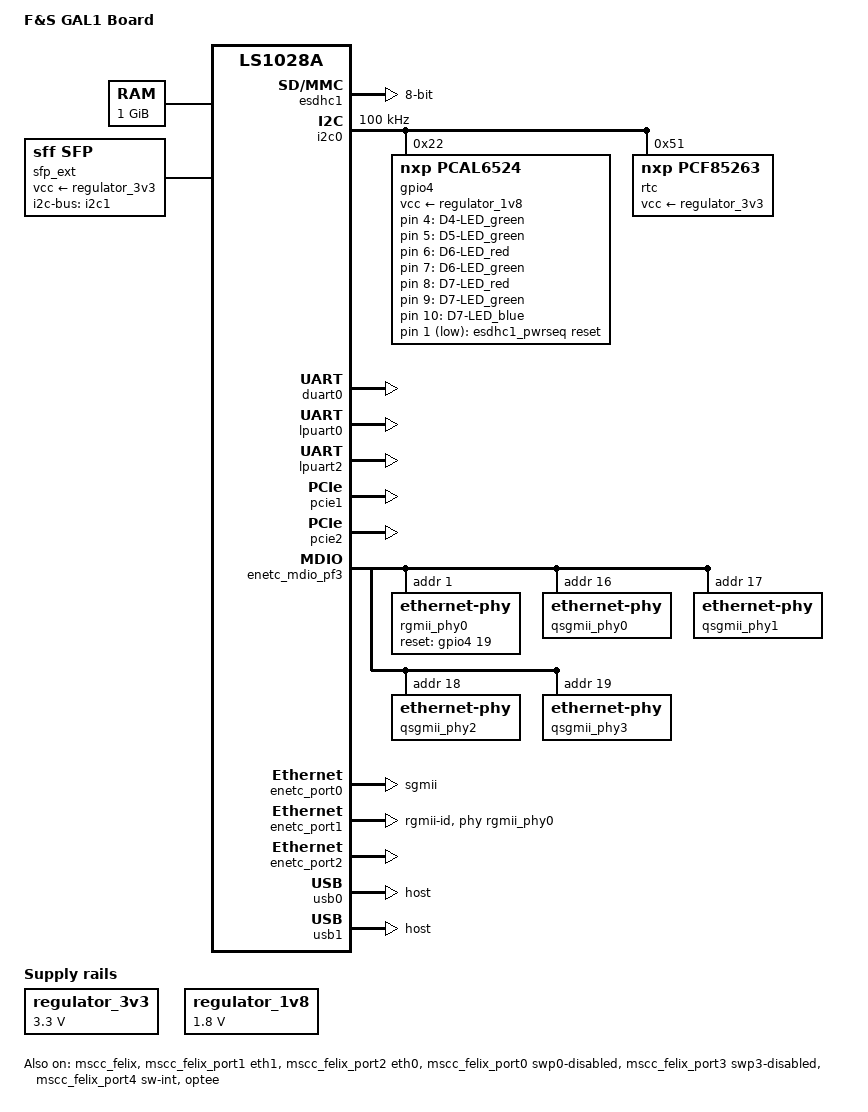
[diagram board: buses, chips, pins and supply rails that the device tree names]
// SPDX-License-Identifier: (GPL-2.0+ OR MIT)
/*
 * F&S Elektronik Systeme GmbH device tree source
 *
 * Copyright 2022 F&S Elektronik Systeme GmbH
 *
 */

/dts-v1/;
#include "../freescale/fsl-ls1028a.dtsi"
#include <dt-bindings/gpio/gpio.h>
#include <dt-bindings/leds/common.h>
#include <dt-bindings/net/mscc-phy-vsc8531.h>

/delete-node/ &dpclk;
/delete-node/ &hdptx0;
/delete-node/ &malidp0;

&soc {
	/delete-node/ gpu@f0c0000;
};

/ {
     model = "F&S GAL1 Board";
     compatible = "fus,gal1", "fsl,ls1028a";

     aliases {
        crypto = &crypto;
        serial0 = &duart0;
        serial1 = &lpuart0;
        serial2 = &lpuart2;

		/* Needed for UBOOT to set MAC-ADDRESS */
		ethernet0 = &enetc_port0;
		ethernet1 = &enetc_port1;
		ethernet2 = &enetc_port2;
		ethernet3 = &mscc_felix_port0;
		ethernet4 = &mscc_felix_port1;
		ethernet5 = &mscc_felix_port2;
		ethernet6 = &mscc_felix_port3;
		ethernet7 = &enetc_port3;
    };

     chosen {
		stdout-path = "serial0:115200n8";
     };

     memory@80000000 {
		device_type = "memory";
		reg = <0x0 0x80000000 0x0 0x40000000>; //1GiB in DRAM region 1
     };

	leds {
		compatible = "gpio-leds";

		D4-GN {
			label = "D4-LED_green";
			gpios = <&gpio4 4 GPIO_ACTIVE_HIGH>;
			default-state = "off";	
		};

		D5-GN {
			label = "D5-LED_green";
			gpios = <&gpio4 5 GPIO_ACTIVE_HIGH>;
			default-state = "off";
		};

		D6-RD {
			label = "D6-LED_red";
			gpios = <&gpio4 6 GPIO_ACTIVE_HIGH>;
			default-state = "off";
		};

		D6-GN {
			label = "D6-LED_green";
			gpios = <&gpio4 7 GPIO_ACTIVE_HIGH>;
			default-state = "off";
		};

		D7-RD {
			label = "D7-LED_red";
			gpios = <&gpio4 8 GPIO_ACTIVE_HIGH>;
			default-state = "off";
		};

		D7-GN {
			label = "D7-LED_green";
			gpios = <&gpio4 9 GPIO_ACTIVE_HIGH>;
			default-state = "off";
		};

		D7-BL {
			label = "D7-LED_blue";
			gpios = <&gpio4 10 GPIO_ACTIVE_HIGH>;
			default-state = "off";
		};

	};

	regulators {
		compatible = "simple-bus";
		#address-cells = <1>;
		#size-cells = <0>;

		regulator_3v3: regulator_3V3@0 {
			compatible = "regulator-fixed";
			regulator-name = "3V3";
			regulator-min-microvolt = <3300000>;
			regulator-max-microvolt = <3300000>;
			regulator-boot-on;
			regulator-always-on;
		};
		regulator_1v8: pmic_1V8@1 {
			compatible = "regulator-fixed";
			regulator-name = "1V8";
			regulator-min-microvolt = <1800000>;
			regulator-max-microvolt = <1800000>;
			regulator-boot-on;
			regulator-always-on;
		};

	};

	/delete-node/ thermal-zones;

	thermal-zones {
		ddr-controller {
			polling-delay-passive = <1000>;
			polling-delay = <5000>;
			thermal-sensors = <&tmu 0>;

			trips {
				ddr-ctrler-alert {
					temperature = <95000>;
					hysteresis = <2000>;
					type = "passive";
				};

				ddr-ctrler-crit {
					temperature = <105000>;
					hysteresis = <2000>;
					type = "critical";
				};
			};
		};

		core-cluster {
			polling-delay-passive = <1000>;
			polling-delay = <5000>;
			thermal-sensors = <&tmu 1>;

			trips {
				core_cluster_alert: core-cluster-alert {
					temperature = <95000>;
					hysteresis = <2000>;
					type = "passive";
				};

				core_cluster_crit: core-cluster-crit {
					temperature = <105000>;
					hysteresis = <2000>;
					type = "critical";
				};
			};

			cooling-maps {
				map0 {
					trip = <&core_cluster_alert>;
					cooling-device =
						<&cpu0 THERMAL_NO_LIMIT THERMAL_NO_LIMIT>;
				};
			};
		};
	};

	sfp_ext: sfp_ext {
	 	compatible = "sff,sfp";
	 	i2c-bus = <&i2c1>;
		vcc-supply = <&regulator_3v3>;
	};

	sfp_int: sfp_int {
		//enabled in u-boot
	 	compatible = "sff,sfp";
	 	i2c-bus = <&i2c4>;
		vcc-supply = <&regulator_3v3>;
		status = "disabled";
	};
	
	esdhc1_pwrseq: emmc_pwrseq {
		compatible = "mmc-pwrseq-emmc";
		reset-gpios = <&gpio4 1 (GPIO_ACTIVE_LOW|GPIO_OPEN_DRAIN)>;
	};
};

&cpu1 {
	status = "disabled";
};

&esdhc1 {
	/* EMMC */
	mmc-hs200-1_8v;
	mmc-hs400-1_8v;
	bus-width = <8>;
	mmc-pwrseq = <&esdhc1_pwrseq>;
	status = "okay";
};

&i2c0 {
	clock-frequency = <100000>;
	status = "okay";
	gpio4: pca6524@22 {
		/* extern GPIO controller */
		compatible = "nxp,pcal6524";
		reg  = <0x22>;
		gpio-controller;
		#gpio-cells = <2>;
		vcc-supply = <&regulator_1v8>;
		gpio-line-names = /* Port 1 */
				  "DDR_RST_B_1V8",
				  "eMMC_RST_B_1V8",
				  "PCIe_CLKGEN",
				  "PCIe_SIM_SW",
				  "LED_G2_GPIO_1V8",
				  "LED_G3_GPIO_1V8",
				  "LED_R1_GPIO_1V8",
				  "LED_G4_GPIO_1V8",
				  /* Port 2 */
				  "LED_R2_GPIO_1V8",
				  "LED_G5_GPIO_1V8",
				  "LED_B1_GPIO_1V8",
				  "PCIe1_PWR_EN",
				  "PCIe1_RST_B_1V8",
				  "PCIe1_WAKE_B_1V8",
				  "PCIe2_PWR_EN",
				  "PCIe2_RST_B_1V8", 
				  /* Port 3 */
				  "PCIe2_WAKE_B_1V8",
				  "PCIe2_CLKREQ_B_1V8",
				  "PCIe1_CLKREQ_B_1V8",
				  "RGMII_RST_1V8",
				  "RGMII_IRQ_1V8",
				  "QSGMII_RST_1V8",
				  "QSGMII_IRQ_1V8",
				  "SFP_INT_LINK_1V8";

		ddr_rst_hog {
			gpio-hog;
			gpios = <0 GPIO_ACTIVE_HIGH>;
			output-low;
		};

		pcie_clkgen_hog {
			gpio-hog;
			gpios = <2 GPIO_ACTIVE_LOW>;
			output-high;
		};

		PCIe1_rst_hog {
			gpio-hog;
			gpios = <12 GPIO_ACTIVE_LOW>;
			output-low;
		};

		PCIe2_rst_hog {
			gpio-hog;
			gpios = <15 GPIO_ACTIVE_LOW>;
			output-low;
		};
	};

	temp_sensor: temp_sensor@2c {
		/* enabled in U-Boot */
		compatible = "nxp,pct2075";
		reg = <0x2c>;
		vs-supply = <&regulator_3v3>;
		status = "disabled";
	};

	rtc@51 {
		compatible = "nxp,pcf85263";
		reg = <0x51>;
		vcc-supply = <&regulator_3v3>;
	};
};

&gpio1 {
	gpio-line-names = 
		/* Line 0-14 */
		"","","","","","","","","","",
		"","","","","",
		/* LED (15)*/
		"SFP_EXT_LINK_1V8",
		/* Line 16-31 */
		"","","","","","","","","","",
		"","","","","","";
};

&gpio2 {
	gpio-line-names = 
		/* Line 0-19*/
		"","","","","","","","","","",
		"","","","","","","","","","",
		/* Line 20-23 for GPIO */
		"GPIO-1",
		"GPIO-0",
		"GPIO-2",
		"GPIO-3",
		/* Line 24-31 */
		"","","","",
		"RS232_DSR",
		"RS232_RI",
		"RS232_DTR",
		"RS232_DCD";
};

&gpio3 {
	gpio-line-names =
		/* Line 0-12 */
		"","","","","","","","","","",
		"","","",
		/* Line 13 -16 for GPIO */
		"GPIO-7",
		"GPIO-6",
		"GPIO-4",
		"GPIO-5",
		/*Line 17 - 18*/
		"TA_PROG_1V8",
		"USB1_PWR_EN",
		/*Line 19-31*/
		"","","","","","","","","",
		"","","","";
};

&duart0 {
	status = "okay";
};

&lpuart0 {
	status = "okay";
};

&lpuart2 {
	status = "okay";
    dtr-gpios = <&gpio2 28 GPIO_ACTIVE_HIGH>;
    rng-gpios = <&gpio2 29 GPIO_ACTIVE_HIGH>;
    dsr-gpios = <&gpio2 30 GPIO_ACTIVE_HIGH>;
    dcd-gpios = <&gpio2 31 GPIO_ACTIVE_HIGH>;
};

&pcie1 {
	status = "okay";
};

&pcie2 {
	status = "okay";
};

&enetc_mdio_pf3 {
	rgmii_phy0: ethernet-phy@1 {
		/* Realtek RTL8211FSI-PHY */
		reg = <0x1>;
		reset-gpios = <&gpio4 19 GPIO_ACTIVE_HIGH>;
		reset-assert-us = <50000>;
		reset-deassert-us = <200000>;
		sfp = <&sfp_int>;
	};

	qsgmii_phy0: ethernet-phy@10 {
		/* Microsemi VSC8514XMK */
		vsc8531,led-0-mode = <VSC8531_ACTIVITY>;
		vsc8531,led-2-mode = <VSC8531_DUPLEX_COLLISION>;
		reg = <0x10>;
	};

	qsgmii_phy1: ethernet-phy@11 {
		/* Microsemi VSC8514XMK */
		vsc8531,led-0-mode = <VSC8531_ACTIVITY>;
		vsc8531,led-2-mode = <VSC8531_DUPLEX_COLLISION>;
		reg = <0x11>;
	};

	qsgmii_phy2: ethernet-phy@12 {
		/* Microsemi VSC8514XMK */
		vsc8531,led-0-mode = <VSC8531_ACTIVITY>;
		vsc8531,led-2-mode = <VSC8531_DUPLEX_COLLISION>;
		reg = <0x12>;
	};

	qsgmii_phy3: ethernet-phy@13 {
		/* Microsemi VSC8514XMK */
		vsc8531,led-0-mode = <VSC8531_ACTIVITY>;
		vsc8531,led-2-mode = <VSC8531_DUPLEX_COLLISION>;
		reg = <0x13>;
	};

};

&enetc_port0 {
	/* SFP Connector */
	label = "eth2";
	phy-connection-type = "sgmii";
	managed = "in-band-status";
	sfp = <&sfp_ext>;
	link-gpios = <&gpio1 15 GPIO_ACTIVE_HIGH>;
	status = "okay";
};

&enetc_port1 {
	/* internal Ethernet */
	label = "eth3";
	phy-handle = <&rgmii_phy0>;
	phy-mode = "rgmii-id";
	link-gpios = <&gpio4 23 GPIO_ACTIVE_HIGH>;
	status = "okay";
};

&enetc_port2 {
	/* connected to TSN Switch swp4*/
	label = "sw";
	status = "okay";
};

&enetc_port3 {
	/* connected to TSN Switch swp5 */
	label = "sw-ctrl";
	status = "disable";
};

&mscc_felix {
	/* TSN Switch */
	status = "okay";
};


&mscc_felix_port1 {
	label = "eth1";
	managed = "in-band-status";
	phy-handle = <&qsgmii_phy1>;
	phy-mode = "qsgmii";
	status = "okay";
};

&mscc_felix_port2 {
	label = "eth0";
	managed = "in-band-status";
	phy-handle = <&qsgmii_phy2>;
	phy-mode = "qsgmii";
	status = "okay";
};

/* Following two ports are not connected on GAL1
 * But these are used on GAL2
 */
&mscc_felix_port0 {
	label = "swp0-disabled";
	managed = "in-band-status";
	phy-handle = <&qsgmii_phy0>;
	phy-mode = "qsgmii";
	status = "okay";
};

&mscc_felix_port3 {
	label = "swp3-disabled";
	managed = "in-band-status";
	phy-handle = <&qsgmii_phy3>;
	phy-mode = "qsgmii";
	status = "okay";
};

&mscc_felix_port4{
	label = "sw-int";
	ethernet = <&enetc_port2>;
	status = "okay";
};

&mscc_felix_port5{
	label = "sw-int-ctrl";
	ethernet = <&enetc_port3>;
	status = "disable";
};

&usb0 {
	dr_mode = "host";
};

&usb1 {
	dr_mode = "host";
};

&optee {
	status = "okay";
};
